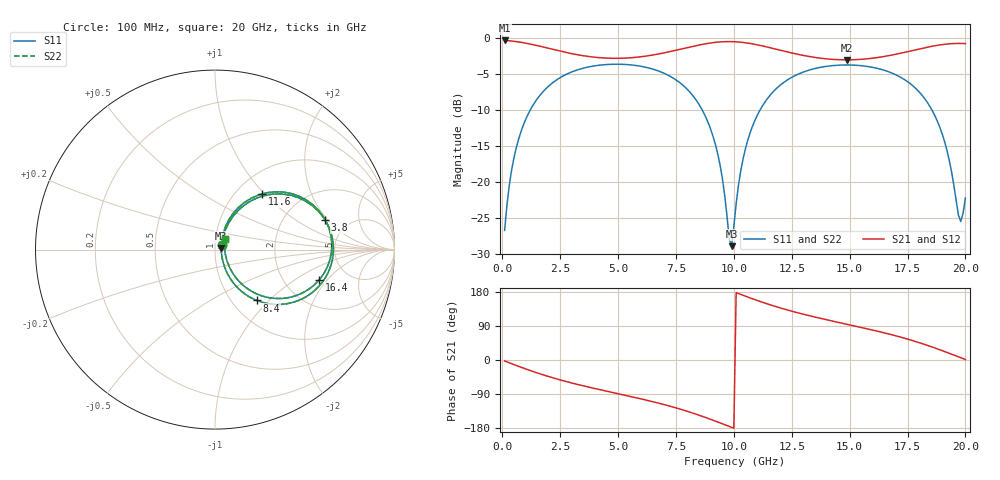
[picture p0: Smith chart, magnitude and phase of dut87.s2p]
! Touchstone file exported from HFSS 2026.1.0
!  File:  C:/ffzhzh/LocalFiles/Ansys_Project_Files/temp_train_TSV_RDL_87_1782972343_45748.aedt
!  Generated:  02:19:56 PM Jul  2, 2026
!  Design:  TSV_RDL
!  Project:  temp_train_TSV_RDL_87_1782972343_45748
! Variables:
!  h_bsmrdl = 4.11um
!  h_ox = 20um
!  h_rdl = 5um
!  h_sub = 61.83um
!  h_tmrdl = 3.13um
!  h_tsv = 61.83um
!  h_via = 3um
!  l_bsmrdl = 638.45um
!  l_sub = 6217.05um
!  l_tmrdl = 950.9um
!  m_sub = 200um
!  pitch = 59.08um
!  r_tsv = 13.27um
!  s_tmrdl = 10um
!  w_bsmrdl = 15.98um
!  w_sub = 500um
!  w_tmrdl = 16.72um
!  x_tsv_center1 = 959.26um
!  x_tsv_center2 = 1613.69um
!  x_tsv_center3 = 2581.31um
!  x_tsv_center4 = 3235.74um
!  x_tsv_center5 = 4203.36um
!  x_tsv_center6 = 4857.79um
# GHz S MA R 50.000000
! Terminal data exported
! Port[1] = TM_RDL1_1_T1
! Port[2] = TM_RDL5_1_T1
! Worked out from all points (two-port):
!   200 points, 100 MHz to 20 GHz, reference 50 ohm
!   highest |S21| = -0.32 dB at 100 MHz (marker M1); lowest = -3.0 dB at 14.9 GHz (marker M2)
!   |S21| within 3 dB of the highest: start of sweep to end of sweep
!   lowest |S11| = -28.9 dB at 9.9 GHz (marker M3), VSWR 1.07, Z = 53.6 + j0.831 ohm
!   |S11| at or under -10 dB: start of sweep to 1.204 GHz; 8.637 GHz to 11.13 GHz (2.491 GHz wide, 25.2 % of centre); 18.56 GHz to end of sweep
!   |S22| runs from -29.0 to -3.6 dB; largest |S21 - S12| = 1.6e-14
!   S11 on the Smith chart (normalised r, x): 100 MHz: 1.07, +0.06; 3.8 GHz: 3.36, +1.87; 8.4 GHz: 1.29, -0.84; 11.6 GHz: 1.31, +0.97; 16.4 GHz: 3.11, -1.65; 20 GHz: 1.10, +0.13
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0.1  0.04623 37.3  0.964 -2.5  0.964 -2.5  0.04623 37.3
! Gamma 0 0 0 0
! Port Impedance 50 0 50 0
0.5  0.1467 62.8  0.9515 -12.0  0.9515 -12.0  0.1467 62.8
1.1  0.2932 56.8  0.9176 -25.6  0.9176 -25.6  0.2932 56.8
2.2  0.4937 38.6  0.8345 -47.3  0.8345 -47.3  0.4937 38.6
3.5  0.619 19.3  0.7551 -68.2  0.7551 -68.2  0.619 19.3
3.8  0.6347 15.2  0.7434 -72.5  0.7434 -72.5  0.6347 15.2
5.3  0.6569 -4.3  0.727 -93.0  0.727 -93.0  0.6569 -4.3
6.8  0.5872 -24.7  0.7796 -114.6  0.7796 -114.6  0.5872 -24.7
8.4  0.366 -50.7  0.89 -143.6  0.89 -143.6  0.3659 -50.7
9.3  0.1583 -62.6  0.9388 -163.5  0.9388 -163.5  0.1582 -62.7
9.9  0.03594 12.4  0.9462 -177.6  0.9462 -177.6  0.03562 12.5
10.1  0.07092 56.5  0.9431 177.7  0.9431 177.7  0.07075 56.7
10.7  0.2195 63.6  0.9188 163.9  0.9188 163.9  0.2195 63.7
11.6  0.4076 49.6  0.8557 145.0  0.8557 145.0  0.4076 49.7
13.4  0.6096 22.4  0.7391 114.8  0.7391 114.8  0.6096 22.4
14.9  0.6515 3.2  0.7071 94.1  0.7071 94.1  0.6514 3.2
16.4  0.6048 -16.1  0.7418 73.1  0.7418 73.1  0.6048 -16.1
16.7  0.5832 -20.3  0.7565 68.5  0.7565 68.5  0.5831 -20.2
18.5  0.3287 -47.5  0.8747 35.7  0.8747 35.7  0.3287 -47.4
19.2  0.1672 -53.1  0.9102 20.1  0.9102 20.1  0.1672 -53.0
19.8  0.0534 7.0  0.9191 6.0  0.9191 6.0  0.05365 7.0
20  0.07755 46.7  0.9167 1.3  0.9167 1.3  0.07774 46.6
